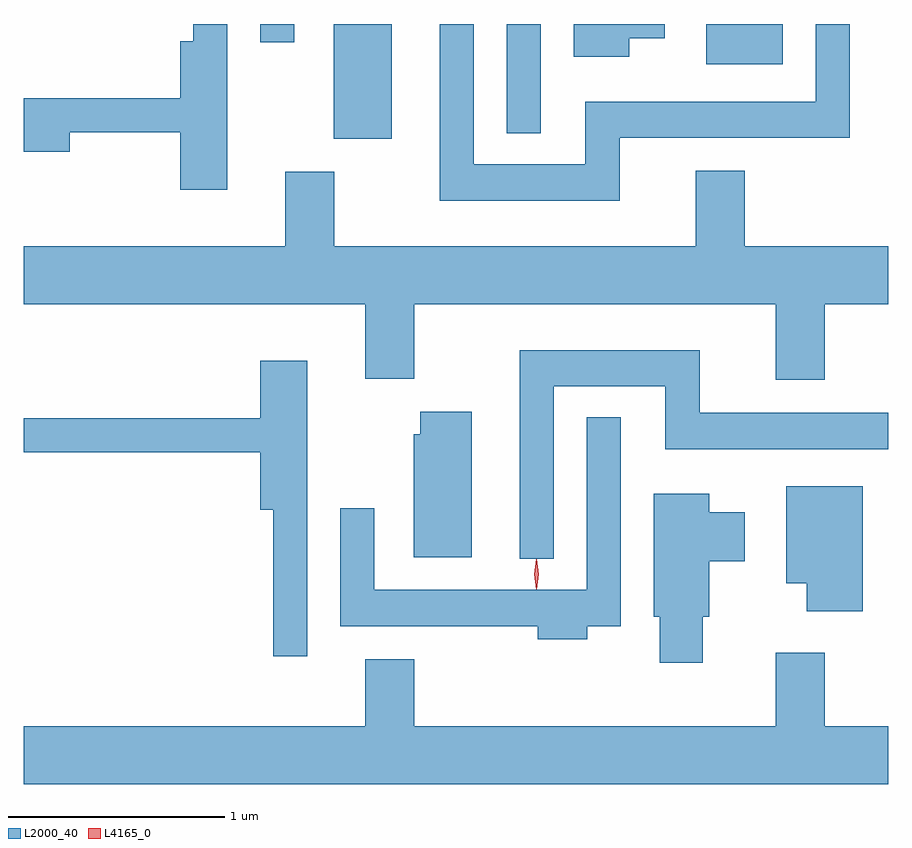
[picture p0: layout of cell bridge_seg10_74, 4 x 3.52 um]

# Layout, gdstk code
import gdstk
lib = gdstk.Library(unit=1e-6, precision=1e-09)
def R(c, l, rs):  # rectangles x0, y0, x1, y1
    for r in rs: c.add(gdstk.rectangle(r[:2], r[2:], *l))
def P(c, l, *ps):  # polygons
    for p in ps: c.add(gdstk.Polygon(p, *l))
L2000_40 = (2000, 40)
L4165_0 = (4165, 0)

bridge_seg10_74 = lib.new_cell('bridge_seg10_74')
R(bridge_seg10_74, L2000_40, [(1583.156,2203.481,1583.424,2204.013), (1583.956,2203.508,1584.114,2204.013), (1584.881,2203.826,1585.234,2204.013), (1582.816,2203.928,1582.974,2204.013)])
P(bridge_seg10_74, L2000_40, [(1584.479,2203.486),(1585.544,2203.486),(1585.544,2204.013),(1585.386,2204.013),(1585.386,2203.654),(1584.321,2203.654),(1584.321,2203.364),(1583.804,2203.364),(1583.804,2204.013),(1583.646,2204.013),(1583.646,2203.196),(1584.479,2203.196)],
  [(1582.664,2204.013),(1582.506,2204.013),(1582.506,2203.934),(1582.446,2203.934),(1582.446,2203.669),(1581.722,2203.669),(1581.722,2203.421),(1581.934,2203.421),(1581.934,2203.511),(1582.446,2203.511),(1582.446,2203.246),(1582.664,2203.246)],
  [(1584.524,2203.946),(1584.689,2203.946),(1584.689,2204.013),(1584.266,2204.013),(1584.266,2203.861),(1584.524,2203.861)],
  [(1585.429,2202.716),(1585.722,2202.716),(1585.722,2202.984),(1585.059,2202.984),(1585.059,2203.334),(1584.831,2203.334),(1584.831,2202.984),(1583.159,2202.984),(1583.159,2203.329),(1582.931,2203.329),(1582.931,2202.984),(1581.722,2202.984),(1581.722,2202.716),(1583.301,2202.716),(1583.301,2202.371),(1583.529,2202.371),(1583.529,2202.716),(1585.201,2202.716),(1585.201,2202.366),(1585.429,2202.366)],
  [(1584.174,2202.336),(1584.691,2202.336),(1584.691,2202.046),(1585.722,2202.046),(1585.722,2202.214),(1584.849,2202.214),(1584.849,2202.504),(1584.016,2202.504),(1584.016,2201.538),(1584.174,2201.538)],
  [(1583.034,2202.454),(1582.816,2202.454),(1582.816,2202.189),(1581.722,2202.189),(1581.722,2202.031),(1582.816,2202.031),(1582.816,2201.766),(1582.876,2201.766),(1582.876,2201.088),(1583.034,2201.088)],
  [(1583.794,2202.219),(1583.556,2202.219),(1583.556,2202.114),(1583.526,2202.114),(1583.526,2201.546),(1583.794,2201.546)],
  [(1584.329,2201.226),(1584.484,2201.226),(1584.484,2202.193),(1584.326,2202.193),(1584.326,2201.394),(1583.344,2201.394),(1583.344,2201.773),(1583.186,2201.773),(1583.186,2201.226),(1584.101,2201.226),(1584.101,2201.166),(1584.329,2201.166)],
  [(1585.604,2201.874),(1585.251,2201.874),(1585.251,2201.426),(1585.346,2201.426),(1585.346,2201.296),(1585.604,2201.296)],
  [(1584.864,2201.271),(1584.894,2201.271),(1584.894,2201.526),(1585.059,2201.526),(1585.059,2201.754),(1584.894,2201.754),(1584.894,2201.839),(1584.636,2201.839),(1584.636,2201.271),(1584.666,2201.271),(1584.666,2201.056),(1584.864,2201.056)],
  [(1585.722,2200.764),(1585.429,2200.764),(1585.429,2201.104),(1585.201,2201.104),(1585.201,2200.764),(1583.529,2200.764),(1583.529,2201.074),(1583.301,2201.074),(1583.301,2200.764),(1581.722,2200.764),(1581.722,2200.496),(1585.722,2200.496)])
P(bridge_seg10_74, L4165_0, [(1584.095,2201.397),(1584.094,2201.398),(1584.085,2201.466),(1584.094,2201.536),(1584.095,2201.536),(1584.095,2201.536),(1584.105,2201.466),(1584.095,2201.398)])

lib.write_gds('bridge_seg10_74.gds')
